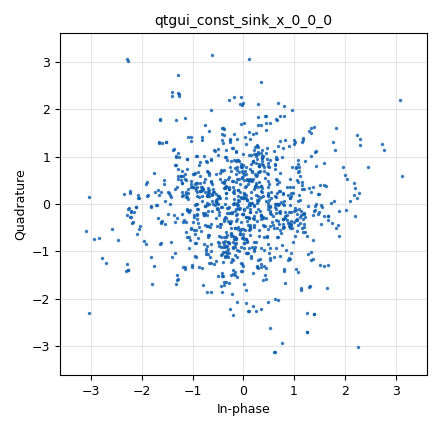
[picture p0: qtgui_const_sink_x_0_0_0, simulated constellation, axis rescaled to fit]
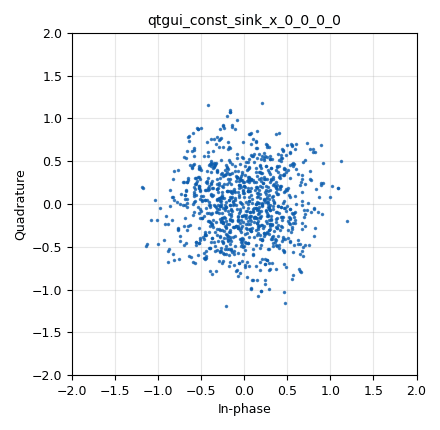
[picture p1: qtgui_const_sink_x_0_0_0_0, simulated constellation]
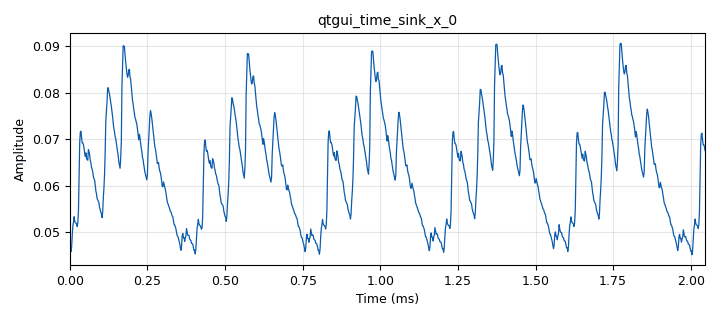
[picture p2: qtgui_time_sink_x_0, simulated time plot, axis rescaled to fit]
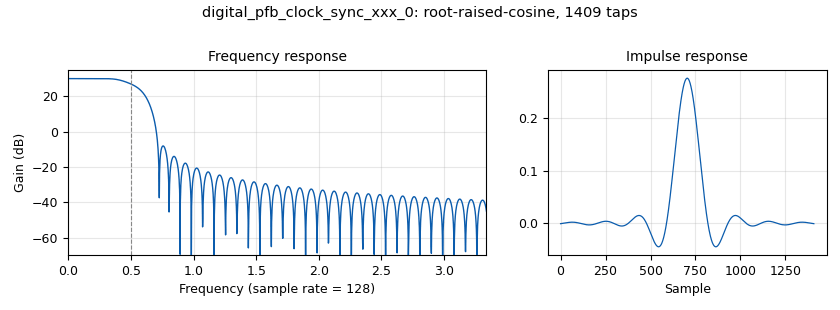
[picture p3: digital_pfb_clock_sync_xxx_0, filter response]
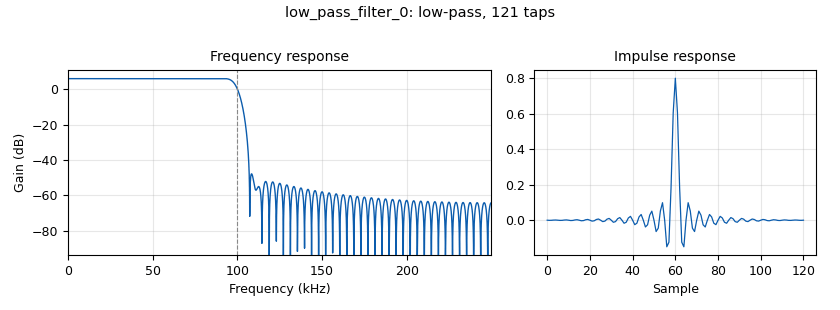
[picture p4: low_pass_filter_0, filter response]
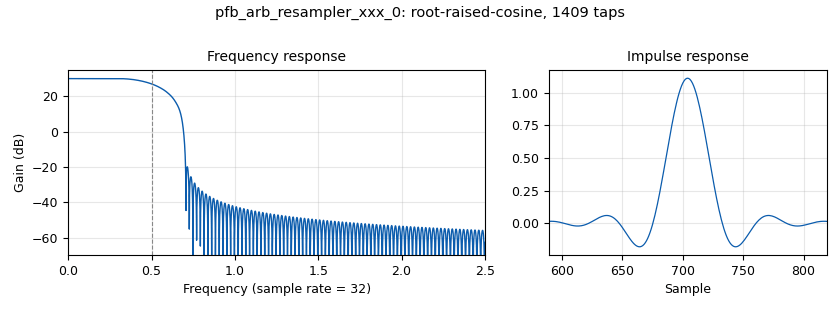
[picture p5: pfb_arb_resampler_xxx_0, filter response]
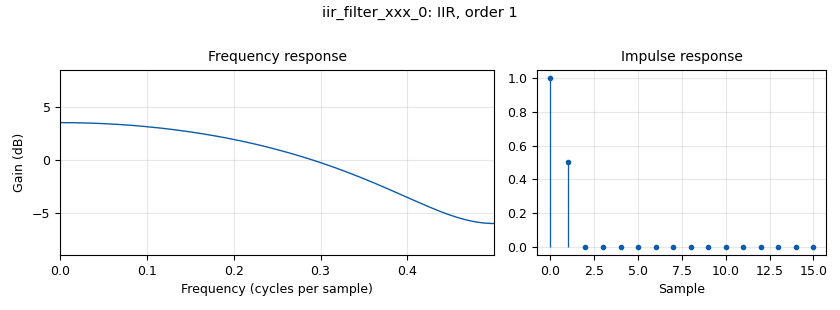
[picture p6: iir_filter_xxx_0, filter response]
options:
  parameters:
    author: vinam
    generate_options: qt_gui
    id: lab7_task2_3
    output_language: python
    title: Lab 7 Tasks 2 & 3
  states: {}

blocks:
- name: freq_bw
  id: variable
  parameters:
    value: 2*pi/100
  states: {}
- name: nfilts
  id: variable
  parameters:
    value: '32'
  states: {}
- name: ntaps
  id: variable
  parameters:
    value: 11*nfilts*sps
  states: {}
- name: rx_taps
  id: variable
  parameters:
    value: firdes.root_raised_cosine(nfilts,nfilts*sps,1.0,0.4,ntaps)
  states: {}
- name: samp_rate
  id: variable
  parameters:
    value: '500000'
  states: {}
- name: sps
  id: variable
  parameters:
    value: '4'
  states: {}
- name: tap1
  id: variable_qtgui_range
  parameters:
    label: Tap1
    orient: Qt.Horizontal
    start: '-1'
    step: '0.00001'
    stop: '1'
    value: '1'
  states: {}
- name: tap2
  id: variable_qtgui_range
  parameters:
    label: Tap2
    orient: Qt.Horizontal
    start: '-1'
    step: '0.00001'
    stop: '1'
    value: '1'
  states: {}
- name: tap3
  id: variable_qtgui_range
  parameters:
    label: Tap3
    orient: Qt.Horizontal
    start: '-1'
    step: '0.00001'
    stop: '1'
    value: '1'
  states: {}
- name: tap4
  id: variable_qtgui_range
  parameters:
    label: Tap4
    orient: Qt.Horizontal
    start: '-1'
    step: '0.00001'
    stop: '1'
    value: '1'
  states: {}
- name: timing_bw
  id: variable
  parameters:
    value: 2*pi/100
  states: {}
- name: tx_taps
  id: variable
  parameters:
    value: firdes.root_raised_cosine(nfilts,nfilts,1.0,0.4,ntaps)
  states: {}
- name: analog_noise_source_x_0
  id: analog_noise_source_x
  parameters:
    amp: '0.05'
    noise_type: analog.GR_GAUSSIAN
    seed: '0'
    type: complex
  states: {}
- name: analog_random_source_x_0
  id: analog_random_source_x
  parameters:
    max: '8'
    min: '0'
    num_samps: '1000'
    repeat: 'True'
    type: byte
  states: {}
- name: analog_sig_source_x_0
  id: analog_sig_source_x
  parameters:
    amp: '1'
    freq: '100000'
    offset: '0'
    phase: '0'
    samp_rate: '500000'
    type: complex
    waveform: analog.GR_COS_WAVE
  states: {}
- name: analog_sig_source_x_0_0
  id: analog_sig_source_x
  parameters:
    amp: '1'
    freq: '100000'
    offset: '0'
    phase: '0'
    samp_rate: '500000'
    type: float
    waveform: analog.GR_SIN_WAVE
  states: {}
- name: analog_sig_source_x_0_1
  id: analog_sig_source_x
  parameters:
    amp: '1'
    freq: '100000'
    offset: '0'
    phase: '0'
    samp_rate: '500000'
    type: float
    waveform: analog.GR_COS_WAVE
  states: {}
- name: blocks_abs_xx_0
  id: blocks_abs_xx
  parameters:
    type: float
  states: {}
- name: blocks_add_const_vxx_0
  id: blocks_add_const_vxx
  parameters:
    const: '-1'
    type: float
  states: {}
- name: blocks_add_xx_0
  id: blocks_add_xx
  parameters:
    type: complex
  states: {}
- name: blocks_complex_to_mag_squared_0
  id: blocks_complex_to_mag_squared
  parameters: {}
  states: {}
- name: blocks_complex_to_real_0
  id: blocks_complex_to_real
  parameters: {}
  states: {}
- name: blocks_float_to_complex_0
  id: blocks_float_to_complex
  parameters: {}
  states: {}
- name: blocks_multiply_xx_0
  id: blocks_multiply_xx
  parameters:
    type: complex
  states: {}
- name: blocks_multiply_xx_0_0
  id: blocks_multiply_xx
  parameters:
    type: float
  states: {}
- name: blocks_multiply_xx_0_1
  id: blocks_multiply_xx
  parameters:
    type: float
  states: {}
- name: blocks_throttle_0
  id: blocks_throttle
  parameters:
    samples_per_second: samp_rate
    type: complex
  states: {state: disabled}
- name: blocks_throttle_0_0_0
  id: blocks_throttle
  parameters:
    samples_per_second: '128000'
    type: complex
  states: {}
- name: blocks_throttle_0_0_0_0
  id: blocks_throttle
  parameters:
    samples_per_second: samp_rate
    type: complex
  states: {state: disabled}
- name: blocks_throttle_0_0_0_1
  id: blocks_throttle
  parameters:
    samples_per_second: '128000'
    type: complex
  states: {}
- name: blocks_throttle_0_0_1
  id: blocks_throttle
  parameters:
    samples_per_second: samp_rate
    type: float
  states: {}
- name: digital_chunks_to_symbols_xx_0
  id: digital_chunks_to_symbols_xx
  parameters:
    dimension: '1'
    in_type: byte
    out_type: complex
    symbol_table: ((-0.707-0.707j),(-1-0j),(-0.707+0.707j),(0+1j),(0.707+0.707j),(1+0j),(0.707-0.707j),(0-1j))
  states: {}
- name: digital_costas_loop_cc_0
  id: digital_costas_loop_cc
  parameters:
    order: '4'
    w: freq_bw
  states: {}
- name: digital_pfb_clock_sync_xxx_0
  id: digital_pfb_clock_sync_xxx
  parameters:
    filter_size: '32'
    init_phase: '16'
    loop_bw: timing_bw
    max_dev: '1.5'
    osps: '1'
    sps: '4'
    taps: rx_taps
    type: ccf
  states: {}
- name: iir_filter_xxx_0
  id: iir_filter_xxx
  parameters:
    fbtaps: '1'
    fftaps: '[1, 0.5]'
    type: ccf
  states: {}
- name: iir_filter_xxx_1
  id: iir_filter_xxx
  parameters:
    fbtaps: '1'
    fftaps: '[1,tap1, tap2, tap3, tap4]'
    type: ccf
  states: {}
- name: iir_filter_xxx_2
  id: iir_filter_xxx
  parameters:
    fbtaps: '[1,0.98]'
    fftaps: '[0.001]'
    type: ffd
  states: {}
- name: import_0
  id: import
  parameters:
    imports: from math import pi as pi
  states: {}
- name: import_1
  id: import
  parameters:
    imports: from gnuradio import digital
  states: {}
- name: import_2
  id: import
  parameters:
    imports: from gnuradio.filter import firdes
  states: {}
- name: low_pass_filter_0
  id: low_pass_filter
  parameters:
    cutoff_freq: '100000'
    decim: '5'
    gain: '2'
    samp_rate: '500000'
    type: fir_filter_fff
    width: '10000'
    win: firdes.WIN_HAMMING
  states: {}
- name: low_pass_filter_1
  id: low_pass_filter
  parameters:
    cutoff_freq: '100000'
    decim: '5'
    gain: '2'
    samp_rate: '500000'
    type: fir_filter_fff
    width: '10000'
    win: firdes.WIN_HAMMING
  states: {}
- name: pfb_arb_resampler_xxx_0
  id: pfb_arb_resampler_xxx
  parameters:
    atten: '100'
    nfilts: '32'
    rrate: sps
    taps: tx_taps
    type: ccf
  states: {}
- name: qtgui_const_sink_x_0
  id: qtgui_const_sink_x
  parameters:
    gui_hint: tab@0
    size: '1024'
    type: complex
  states: {state: disabled}
- name: qtgui_const_sink_x_0_0_0
  id: qtgui_const_sink_x
  parameters:
    gui_hint: tab@2
    size: '1024'
    type: complex
  states: {}
- name: qtgui_const_sink_x_0_0_0_0
  id: qtgui_const_sink_x
  parameters:
    gui_hint: tab@2
    size: '1024'
    type: complex
  states: {}
- name: qtgui_sink_x_0_0_0_0
  id: qtgui_sink_x
  parameters:
    bw: samp_rate
    fc: '0'
    fftsize: '1024'
    gui_hint: tab_widget@2
    name: Output of Pulse Shape Filter
    type: complex
    wintype: firdes.WIN_BLACKMAN_hARRIS
  states: {state: disabled}
- name: qtgui_time_sink_x_0
  id: qtgui_time_sink_x
  parameters:
    gui_hint: tab@3
    size: '1024'
    srate: samp_rate
    type: float
  states: {}
- name: rational_resampler_xxx_0
  id: rational_resampler_xxx
  parameters:
    decim: '128000'
    interp: '500000'
    taps: ''
    type: ccc
  states: {}
- name: rational_resampler_xxx_0_0
  id: rational_resampler_xxx
  parameters:
    decim: '500000'
    interp: '128000'
    taps: ''
    type: ccc
  states: {}
- name: tab
  id: qtgui_tab_widget
  parameters:
    label0: Before Multipath, with noise
    label1: After Multipath, with noise
    label2: After Equalizer
    label3: Error
    num_tabs: '4'
  states: {}

connections:
- [analog_noise_source_x_0, '0', blocks_add_xx_0, '1']
- [analog_random_source_x_0, '0', digital_chunks_to_symbols_xx_0, '0']
- [analog_sig_source_x_0, '0', blocks_multiply_xx_0, '1']
- [analog_sig_source_x_0_0, '0', blocks_multiply_xx_0_0, '1']
- [analog_sig_source_x_0_1, '0', blocks_multiply_xx_0_1, '0']
- [blocks_abs_xx_0, '0', iir_filter_xxx_2, '0']
- [blocks_add_const_vxx_0, '0', blocks_abs_xx_0, '0']
- [blocks_add_xx_0, '0', blocks_complex_to_real_0, '0']
- [blocks_complex_to_mag_squared_0, '0', blocks_add_const_vxx_0, '0']
- [blocks_complex_to_real_0, '0', blocks_multiply_xx_0_0, '0']
- [blocks_complex_to_real_0, '0', blocks_multiply_xx_0_1, '1']
- [blocks_float_to_complex_0, '0', rational_resampler_xxx_0_0, '0']
- [blocks_multiply_xx_0, '0', iir_filter_xxx_0, '0']
- [blocks_multiply_xx_0_0, '0', low_pass_filter_1, '0']
- [blocks_multiply_xx_0_1, '0', low_pass_filter_0, '0']
- [blocks_throttle_0, '0', qtgui_const_sink_x_0, '0']
- [blocks_throttle_0_0_0, '0', qtgui_const_sink_x_0_0_0, '0']
- [blocks_throttle_0_0_0_0, '0', qtgui_sink_x_0_0_0_0, '0']
- [blocks_throttle_0_0_0_1, '0', qtgui_const_sink_x_0_0_0_0, '0']
- [blocks_throttle_0_0_1, '0', qtgui_time_sink_x_0, '0']
- [digital_chunks_to_symbols_xx_0, '0', pfb_arb_resampler_xxx_0, '0']
- [digital_costas_loop_cc_0, '0', blocks_throttle_0_0_0_1, '0']
- [digital_costas_loop_cc_0, '0', iir_filter_xxx_1, '0']
- [digital_pfb_clock_sync_xxx_0, '0', digital_costas_loop_cc_0, '0']
- [iir_filter_xxx_0, '0', blocks_add_xx_0, '0']
- [iir_filter_xxx_1, '0', blocks_complex_to_mag_squared_0, '0']
- [iir_filter_xxx_1, '0', blocks_throttle_0_0_0, '0']
- [iir_filter_xxx_2, '0', blocks_throttle_0_0_1, '0']
- [low_pass_filter_0, '0', blocks_float_to_complex_0, '0']
- [low_pass_filter_1, '0', blocks_float_to_complex_0, '1']
- [pfb_arb_resampler_xxx_0, '0', rational_resampler_xxx_0, '0']
- [rational_resampler_xxx_0, '0', blocks_multiply_xx_0, '0']
- [rational_resampler_xxx_0_0, '0', digital_pfb_clock_sync_xxx_0, '0']

metadata:
  file_format: 1
